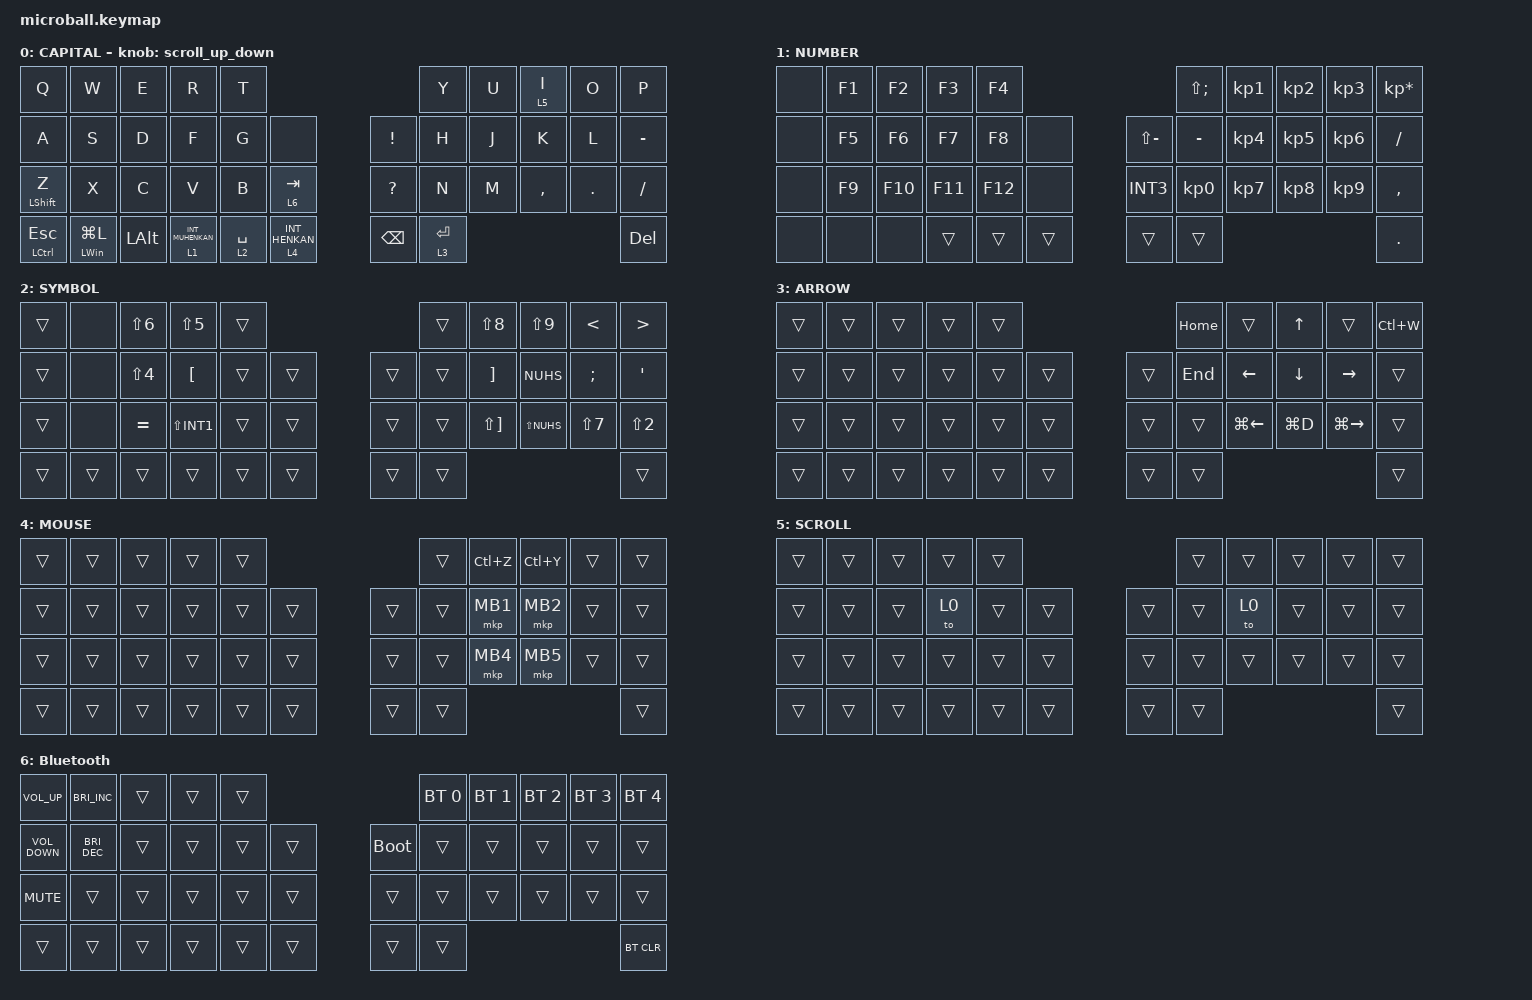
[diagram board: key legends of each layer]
#include <input/processors.dtsi>

#define ZMK_POINTING_DEFAULT_SCRL_VAL 120

#include <behaviors.dtsi>
#include <dt-bindings/zmk/bt.h>
#include <dt-bindings/zmk/keys.h>
#include <dt-bindings/zmk/pointing.h>

#define MOUSE 4
#define SCROLL 5
#define NUM 6

&mkp_input_listener { input-processors = <&zip_temp_layer 4 5000>; };

&mt {
    flavor = "balanced";
    quick-tap-ms = <0>;
};

/ {
    combos {
        compatible = "zmk,combos";

        copy {
            bindings = <&kp LC(C)>;
            key-positions = <13 12>;
        };

        paste {
            bindings = <&kp LC(V)>;
            key-positions = <18 19>;
        };

        cut {
            bindings = <&kp LC(X)>;
            key-positions = <3 2>;
        };

        tab_right {
            bindings = <&kp LC(TAB)>;
            key-positions = <17 18>;
        };

        tab_left {
            bindings = <&kp LC(LS(TAB))>;
            key-positions = <14 13>;
        };

        to_scroll {
            bindings = <&to 5>;
            key-positions = <7 8>;
            layers = <0>;
        };
    };

    macros {
        to_layer_0: to_layer_0 {
            compatible = "zmk,behavior-macro-one-param";
            #binding-cells = <1>;
            bindings = <&to 0 &macro_param_1to1 &kp MACRO_PLACEHOLDER>;
            label = "TO_LAYER_0";
        };

        exit_AML: exit_AML {
            compatible = "zmk,behavior-macro";
            wait-ms = <0>;
            tap-ms = <0>;
            #binding-cells = <0>;
            bindings = <&tog_off MOUSE>;
            label = "exit_AML";
        };

        kp_exit_AML: kp_exit_AML {
            compatible = "zmk,behavior-macro-one-param";
            wait-ms = <0>;
            tap-ms = <0>;
            #binding-cells = <1>;
            bindings = <&macro_param_1to1 &kp MACRO_PLACEHOLDER &exit_AML>;
            label = "KP_exit_AML";
        };
    };

    behaviors {
        lt_to_layer_0: lt_to_layer_0 {
            compatible = "zmk,behavior-hold-tap";
            label = "LAYER_TAP_TO_0";
            bindings = <&mo>, <&to_layer_0>;

            #binding-cells = <2>;
            tapping-term-ms = <200>;
        };

        scroll_up_down: behavior_sensor_rotate_mouse_wheel_up_down {
            compatible = "zmk,behavior-sensor-rotate";
            #sensor-binding-cells = <0>;
            bindings = <&msc SCRL_UP>, <&msc SCRL_DOWN>;

            // 追加: スクロールのタップ時間を設定 (20ms)

            tap-ms = <20>;
        };

        tog_off: toggle_layer_off {
            compatible = "zmk,behavior-toggle-layer";
            #binding-cells = <1>;
            display-name = "Toggle Layer Off";
            toggle-mode = "off";
        };

        mt_exit_AML_on_tap: mt_exit_AML_on_tap {
            compatible = "zmk,behavior-hold-tap";
            label = "MT_exit_AML_ON_TAP";
            bindings = <&kp>, <&kp_exit_AML>;

            #binding-cells = <2>;
            tapping-term-ms = <200>;
            flavor = "balanced";
            quick-tap-ms = <200>;
        };
    };

    keymap {
        compatible = "zmk,keymap";

        CAPITAL {
            bindings = <
&kp Q             &kp W               &kp E         &kp R                          &kp T                                                          &kp Y        &kp U  &lt 5 I    &kp O    &kp P
&kp A             &kp S               &kp D         &kp F                          &kp G        &none                            &kp EXCLAMATION  &kp H        &kp J  &kp K      &kp L    &kp MINUS
&mt LEFT_SHIFT Z  &kp X               &kp C         &kp V                          &kp B        &lt_to_layer_0 6 TAB             &kp QUESTION     &kp N        &kp M  &kp COMMA  &kp DOT  &kp SLASH
&mt LCTRL ESCAPE  &mt LEFT_WIN LG(L)  &kp LEFT_ALT  &lt_to_layer_0 1 INT_MUHENKAN  &lt 2 SPACE  &lt_to_layer_0 4 INT_HENKAN      &kp BACKSPACE    &lt 3 ENTER                             &kp DELETE
            >;

            sensor-bindings = <&scroll_up_down>;
        };

        NUMBER {
            bindings = <
&none  &kp F1  &kp F2   &kp F3   &kp F4                              &kp LS(SEMICOLON)  &kp KP_NUMBER_1  &kp KP_NUMBER_2  &kp KP_NUMBER_3  &kp KP_MULTIPLY
&none  &kp F5  &kp F6   &kp F7   &kp F8   &none       &kp LS(MINUS)  &kp MINUS          &kp KP_NUMBER_4  &kp KP_NUMBER_5  &kp KP_NUMBER_6  &kp SLASH
&none  &kp F9  &kp F10  &kp F11  &kp F12  &none       &kp INT3       &kp KP_NUMBER_0    &kp KP_NUMBER_7  &kp KP_NUMBER_8  &kp KP_NUMBER_9  &kp COMMA
&none  &none   &none    &trans   &trans   &trans      &trans         &trans                                                                &kp DOT
            >;
        };

        SYMBOL {
            bindings = <
&trans  &none   &kp LS(NUMBER_6)  &kp LS(N5)        &trans                      &trans  &kp LS(N8)             &kp LS(N9)    &kp LESS_THAN  &kp GREATER_THAN
&trans  &none   &kp LS(NUMBER_4)  &kp LEFT_BRACKET  &trans  &trans      &trans  &trans  &kp RIGHT_BRACKET      &kp NUHS      &kp SEMICOLON  &kp SQT
&trans  &none   &kp EQUAL         &kp LS(INT1)      &trans  &trans      &trans  &trans  &kp LS(RIGHT_BRACKET)  &kp LS(NUHS)  &kp LS(N7)     &kp LS(NUMBER_2)
&trans  &trans  &trans            &trans            &trans  &trans      &trans  &trans                                                      &trans
            >;
        };

        ARROW {
            bindings = <
&trans  &trans  &trans  &trans  &trans                      &kp HOME  &trans        &kp UP     &trans         &kp LC(W)
&trans  &trans  &trans  &trans  &trans  &trans      &trans  &kp END   &kp LEFT      &kp DOWN   &kp RIGHT      &trans
&trans  &trans  &trans  &trans  &trans  &trans      &trans  &trans    &kp LG(LEFT)  &kp LG(D)  &kp LG(RIGHT)  &trans
&trans  &trans  &trans  &trans  &trans  &trans      &trans  &trans                                            &trans
            >;
        };

        MOUSE {
            bindings = <
&trans  &trans  &trans  &trans  &trans                      &trans  &kp LC(Z)  &kp LC(Y)  &trans  &trans
&trans  &trans  &trans  &trans  &trans  &trans      &trans  &trans  &mkp MB1   &mkp MB2   &trans  &trans
&trans  &trans  &trans  &trans  &trans  &trans      &trans  &trans  &mkp MB4   &mkp MB5   &trans  &trans
&trans  &trans  &trans  &trans  &trans  &trans      &trans  &trans                                &trans
            >;
        };

        SCROLL {
            bindings = <
&trans  &trans  &trans  &trans  &trans                      &trans  &trans  &trans  &trans  &trans
&trans  &trans  &trans  &to 0   &trans  &trans      &trans  &trans  &to 0   &trans  &trans  &trans
&trans  &trans  &trans  &trans  &trans  &trans      &trans  &trans  &trans  &trans  &trans  &trans
&trans  &trans  &trans  &trans  &trans  &trans      &trans  &trans                          &trans
            >;
        };

        Bluetooth {
            bindings = <
&kp C_VOLUME_UP    &kp C_BRI_INC  &trans  &trans  &trans                           &bt BT_SEL 0  &bt BT_SEL 1  &bt BT_SEL 2  &bt BT_SEL 3  &bt BT_SEL 4
&kp C_VOLUME_DOWN  &kp C_BRI_DEC  &trans  &trans  &trans  &trans      &bootloader  &trans        &trans        &trans        &trans        &trans
&kp C_MUTE         &trans         &trans  &trans  &trans  &trans      &trans       &trans        &trans        &trans        &trans        &trans
&trans             &trans         &trans  &trans  &trans  &trans      &trans       &trans                                                  &bt BT_CLR
            >;
        };
    };
};
